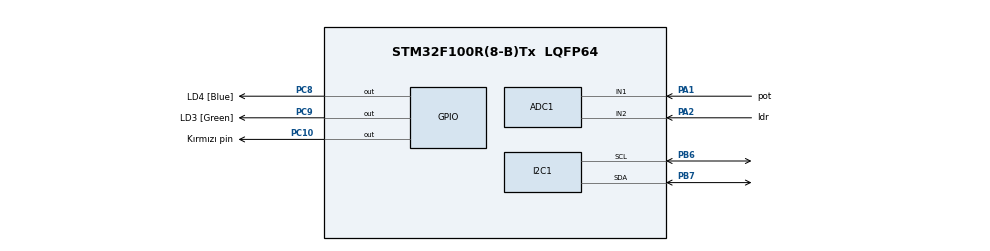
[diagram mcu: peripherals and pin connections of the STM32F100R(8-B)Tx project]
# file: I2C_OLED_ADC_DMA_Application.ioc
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ADC1.Channel-0\#ChannelRegularConversion=ADC_CHANNEL_1
ADC1.Channel-1\#ChannelRegularConversion=ADC_CHANNEL_2
ADC1.Channel-2\#ChannelRegularConversion=ADC_CHANNEL_TEMPSENSOR
ADC1.ContinuousConvMode=DISABLE
ADC1.NbrOfConversion=3
ADC1.NbrOfConversionFlag=1
ADC1.Rank-0\#ChannelRegularConversion=1
ADC1.Rank-1\#ChannelRegularConversion=2
ADC1.Rank-2\#ChannelRegularConversion=3
ADC1.SamplingTime-0\#ChannelRegularConversion=ADC_SAMPLETIME_55CYCLES_5
ADC1.SamplingTime-1\#ChannelRegularConversion=ADC_SAMPLETIME_55CYCLES_5
ADC1.SamplingTime-2\#ChannelRegularConversion=ADC_SAMPLETIME_55CYCLES_5
ADC1.master=1
Dma.ADC1.0.Direction=DMA_PERIPH_TO_MEMORY
Dma.ADC1.0.Instance=DMA1_Channel1
Dma.ADC1.0.MemDataAlignment=DMA_MDATAALIGN_HALFWORD
Dma.ADC1.0.MemInc=DMA_MINC_ENABLE
Dma.ADC1.0.Mode=DMA_CIRCULAR
Dma.ADC1.0.PeriphDataAlignment=DMA_PDATAALIGN_HALFWORD
Dma.ADC1.0.PeriphInc=DMA_PINC_DISABLE
Dma.ADC1.0.Priority=DMA_PRIORITY_MEDIUM
Dma.Request0=ADC1
I2C1.I2C_Mode=I2C_Fast
Mcu.Family=STM32F1
Mcu.Name=STM32F100R(8-B)Tx
Mcu.Package=LQFP64
NVIC.DMA1_Channel1_IRQn=true\:0\:0\:false\:false\:true\:false\:true\:true
NVIC.PriorityGroup=NVIC_PRIORITYGROUP_4
PA0-WKUP.Mode=SYS_WakeUp0
PA0-WKUP.Signal=SYS_WKUP
PA1.GPIO_Label=pot
PA1.Signal=ADCx_IN1
PA13.GPIO_Label=TMS_SWDIO
PA13.Mode=Serial_Wire
PA13.Signal=SYS_JTMS-SWDIO
PA14.GPIO_Label=TCK_SWCLK
PA14.Mode=Serial_Wire
PA14.Signal=SYS_JTCK-SWCLK
PA2.GPIO_Label=ldr
PA2.Signal=ADCx_IN2
PB6.Mode=I2C
PB6.Signal=I2C1_SCL
PB7.Mode=I2C
PB7.Signal=I2C1_SDA
PC10.GPIO_Label=K\u0131rm\u0131z\u0131 pin
PC10.GPIO_Speed=GPIO_SPEED_FREQ_LOW
PC10.Signal=GPIO_Output
PC14-OSC32_IN.Mode=LSE-External-Oscillator
PC14-OSC32_IN.Signal=RCC_OSC32_IN
PC15-OSC32_OUT.Mode=LSE-External-Oscillator
PC15-OSC32_OUT.Signal=RCC_OSC32_OUT
PC8.GPIO_Label=LD4 [Blue]
PC8.Signal=GPIO_Output
PC9.GPIO_Label=LD3 [Green]
PC9.Signal=GPIO_Output
PD0-OSC_IN.Mode=HSE-External-Oscillator
PD0-OSC_IN.Signal=RCC_OSC_IN
PD1-OSC_OUT.Mode=HSE-External-Oscillator
PD1-OSC_OUT.Signal=RCC_OSC_OUT
ProjectManager.HeapSize=0x200
ProjectManager.StackSize=0x400
ProjectManager.TargetToolchain=STM32CubeIDE
RCC.APB1Freq_Value=8000000
RCC.APB2Freq_Value=8000000
SH.ADCx_IN1.0=ADC1_IN1,IN1
SH.ADCx_IN2.0=ADC1_IN2,IN2
VP_ADC1_TempSens_Input.Mode=IN-TempSens
board=STM32VLDISCOVERY

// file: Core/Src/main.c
/* USER CODE BEGIN Header */
/**
  ******************************************************************************
  * @file           : main.c
  * @brief          : Main program body
  ******************************************************************************
  * @attention
  *
  * Copyright (c) 2022 STMicroelectronics.
  * All rights reserved.
  *
  * This software is licensed under terms that can be found in the LICENSE file
  * in the root directory of this software component.
  * If no LICENSE file comes with this software, it is provided AS-IS.
  *
  ******************************************************************************
  */
/* USER CODE END Header */
#include "main.h"

/* USER CODE BEGIN Includes */
#include "ssd1306.h"
#include "test.h"
#include "fonts.h"
#include <stdio.h>

/* USER CODE END Includes */

/* USER CODE BEGIN PD */
#define V25 1.53 //V25=Vsense at 25 degrees , 25 derecedeki voltaj degeri(typical value: 1.32 & 1.43 & 1.50).

/* USER CODE END PD */

ADC_HandleTypeDef hadc1;
DMA_HandleTypeDef hdma_adc1;

I2C_HandleTypeDef hi2c1;

/* USER CODE BEGIN PV */

float temp_voltage=0;
float temperature=0;

uint16_t volatile adcData[3];
uint16_t volatile adcDataBuffer[3];
uint16_t volatile adcConvComplt = 0; //Flag for Conversion completion
char message[50];
char adc_char[20];

char harf = 'C';

/* USER CODE END PV */

void SystemClock_Config(void);
static void MX_GPIO_Init(void);
static void MX_DMA_Init(void);
static void MX_ADC1_Init(void);
static void MX_I2C1_Init(void);
/* USER CODE BEGIN PFP */

void display_adcData(uint32_t adcValue);

/* USER CODE END PFP */

int main(void)
{

  /* MCU Configuration--------------------------------------------------------*/

  /* Reset of all peripherals, Initializes the Flash interface and the Systick. */
  HAL_Init();

  /* Configure the system clock */
  SystemClock_Config();

  /* Initialize all configured peripherals */
  MX_GPIO_Init();
  MX_DMA_Init();
  MX_ADC1_Init();
  MX_I2C1_Init();
  /* USER CODE BEGIN 2 */

  SSD1306_Init();

  SSD1306_GotoXY (0, 0);
  SSD1306_Puts ("Initializing...", &Font_7x10, 1);
  SSD1306_UpdateScreen ();  // update display
  HAL_Delay(500);

  HAL_ADCEx_Calibration_Start(&hadc1);

  HAL_GPIO_WritePin(GPIOC, GPIO_PIN_10, GPIO_PIN_SET);
  HAL_Delay(500);
  HAL_GPIO_WritePin(GPIOC, GPIO_PIN_10, GPIO_PIN_RESET);
  HAL_Delay(200);

  /* USER CODE END 2 */

  /* Infinite loop */
	while (1) {

    /* USER CODE BEGIN 3 */

		HAL_ADC_Start_DMA(&hadc1,(uint32_t *)adcDataBuffer, 3);
		while(adcConvComplt == 0)
		{

		}
		adcConvComplt = 0;

		uint16_t okupot=adcData[0];//adcData[0] indicates pot ADC Value
		uint16_t okuldr=adcData[1];//adcData[1] indicates ldr ADC Value
		uint16_t okutemp=adcData[2];//adcData[2] indicates temperature ADC Value

		temp_voltage = (float) okutemp * (3.3 / 4095);
		temperature = (V25 - temp_voltage) / 0.0043 + 25;   // V25 =1.50
		//Calculate the current temperature value -->  temp_voltage = Vsense
		//Temperature={(V25-Vsense)/Avg_Slope}+25 ; Avg_Slope=4.0 & 4.3 & 4.6 mV

		//HAL_Delay(100);
		//sprintf(message,"POT = %u || LDR = %u || Temperature = %0.1f\n",okupot, okuldr, temperature);

		if (okupot < 2300 ) {

			HAL_GPIO_WritePin(GPIOC, LD4_Pin,GPIO_PIN_SET);
			HAL_GPIO_WritePin(GPIOC, LD3_Pin | GPIO_PIN_10, GPIO_PIN_RESET);

		} else if (okupot >= 2300  && okupot < 3700 ) {

			HAL_GPIO_WritePin(GPIOC, LD3_Pin,GPIO_PIN_SET);
			HAL_GPIO_WritePin(GPIOC, LD4_Pin | GPIO_PIN_10, GPIO_PIN_RESET);

		} else if (okupot >= 3700 ) {
			HAL_GPIO_WritePin(GPIOC, GPIO_PIN_10,GPIO_PIN_SET);
			HAL_GPIO_WritePin(GPIOC, LD3_Pin | LD4_Pin, GPIO_PIN_RESET);

		} else{
			HAL_GPIO_TogglePin(GPIOC, GPIO_PIN_10 | LD3_Pin |LD4_Pin);
			HAL_Delay(30);
		}
		///////////////////////////////////////////////////
/*
		SSD1306_Clear();

		SSD1306_GotoXY(0, 2);
		SSD1306_Puts("POT:", &Font_11x18, 1);

		SSD1306_GotoXY(30, 2);
		SSD1306_Puts("LDR:", &Font_11x18, 1);

		SSD1306_GotoXY(0, 45);
		SSD1306_Puts("TEMP:", &Font_11x18, 1);

		SSD1306_UpdateScreen();

		HAL_Delay(1000);
*/
		SSD1306_Clear();

		SSD1306_GotoXY(10, 5);
		SSD1306_Puts("POT: ", &Font_7x10, 1);
		SSD1306_GotoXY(48, 1);
		display_adcData(okupot);

		SSD1306_GotoXY(10, 30);
		SSD1306_Puts("LDR: ", &Font_7x10, 1);
		SSD1306_GotoXY(48, 24);
		display_adcData(okuldr);

		SSD1306_GotoXY(10, 52);
		SSD1306_Puts("TEMP: ", &Font_7x10, 1);
		SSD1306_GotoXY(48, 45);
		sprintf(adc_char,"%0.2f", temperature);
		SSD1306_Puts(adc_char, &Font_11x18, 1);

		//SSD1306_ScrollRight(5, 50); //Nasıl işlediğini tam anlamadım

		SSD1306_UpdateScreen();

		HAL_Delay(500);

		/////////////////////////////////////////////////
	}
  /* USER CODE END 3 */
}

void SystemClock_Config(void)
{
  RCC_OscInitTypeDef RCC_OscInitStruct = {0};
  RCC_ClkInitTypeDef RCC_ClkInitStruct = {0};
  RCC_PeriphCLKInitTypeDef PeriphClkInit = {0};

  /** Initializes the RCC Oscillators according to the specified parameters
  * in the RCC_OscInitTypeDef structure.
  */
  RCC_OscInitStruct.OscillatorType = RCC_OSCILLATORTYPE_HSI;
  RCC_OscInitStruct.HSIState = RCC_HSI_ON;
  RCC_OscInitStruct.HSICalibrationValue = RCC_HSICALIBRATION_DEFAULT;
  RCC_OscInitStruct.PLL.PLLState = RCC_PLL_NONE;
  if (HAL_RCC_OscConfig(&RCC_OscInitStruct) != HAL_OK)
  {
    Error_Handler();
  }

  /** Initializes the CPU, AHB and APB buses clocks
  */
  RCC_ClkInitStruct.ClockType = RCC_CLOCKTYPE_HCLK|RCC_CLOCKTYPE_SYSCLK
                              |RCC_CLOCKTYPE_PCLK1|RCC_CLOCKTYPE_PCLK2;
  RCC_ClkInitStruct.SYSCLKSource = RCC_SYSCLKSOURCE_HSI;
  RCC_ClkInitStruct.AHBCLKDivider = RCC_SYSCLK_DIV1;
  RCC_ClkInitStruct.APB1CLKDivider = RCC_HCLK_DIV1;
  RCC_ClkInitStruct.APB2CLKDivider = RCC_HCLK_DIV1;

  if (HAL_RCC_ClockConfig(&RCC_ClkInitStruct, FLASH_LATENCY_0) != HAL_OK)
  {
    Error_Handler();
  }
  PeriphClkInit.PeriphClockSelection = RCC_PERIPHCLK_ADC;
  PeriphClkInit.AdcClockSelection = RCC_ADCPCLK2_DIV2;
  if (HAL_RCCEx_PeriphCLKConfig(&PeriphClkInit) != HAL_OK)
  {
    Error_Handler();
  }
}

static void MX_ADC1_Init(void)
{

  ADC_ChannelConfTypeDef sConfig = {0};

  /** Common config
  */
  hadc1.Instance = ADC1;
  hadc1.Init.ScanConvMode = ADC_SCAN_ENABLE;
  hadc1.Init.ContinuousConvMode = DISABLE;
  hadc1.Init.DiscontinuousConvMode = DISABLE;
  hadc1.Init.ExternalTrigConv = ADC_SOFTWARE_START;
  hadc1.Init.DataAlign = ADC_DATAALIGN_RIGHT;
  hadc1.Init.NbrOfConversion = 3;
  if (HAL_ADC_Init(&hadc1) != HAL_OK)
  {
    Error_Handler();
  }

  /** Configure Regular Channel
  */
  sConfig.Channel = ADC_CHANNEL_1;
  sConfig.Rank = ADC_REGULAR_RANK_1;
  sConfig.SamplingTime = ADC_SAMPLETIME_55CYCLES_5;
  if (HAL_ADC_ConfigChannel(&hadc1, &sConfig) != HAL_OK)
  {
    Error_Handler();
  }

  /** Configure Regular Channel
  */
  sConfig.Channel = ADC_CHANNEL_2;
  sConfig.Rank = ADC_REGULAR_RANK_2;
  if (HAL_ADC_ConfigChannel(&hadc1, &sConfig) != HAL_OK)
  {
    Error_Handler();
  }

  /** Configure Regular Channel
  */
  sConfig.Channel = ADC_CHANNEL_TEMPSENSOR;
  sConfig.Rank = ADC_REGULAR_RANK_3;
  if (HAL_ADC_ConfigChannel(&hadc1, &sConfig) != HAL_OK)
  {
    Error_Handler();
  }

}

static void MX_I2C1_Init(void)
{

  hi2c1.Instance = I2C1;
  hi2c1.Init.ClockSpeed = 400000;
  hi2c1.Init.DutyCycle = I2C_DUTYCYCLE_2;
  hi2c1.Init.OwnAddress1 = 0;
  hi2c1.Init.AddressingMode = I2C_ADDRESSINGMODE_7BIT;
  hi2c1.Init.DualAddressMode = I2C_DUALADDRESS_DISABLE;
  hi2c1.Init.OwnAddress2 = 0;
  hi2c1.Init.GeneralCallMode = I2C_GENERALCALL_DISABLE;
  hi2c1.Init.NoStretchMode = I2C_NOSTRETCH_DISABLE;
  if (HAL_I2C_Init(&hi2c1) != HAL_OK)
  {
    Error_Handler();
  }

}

static void MX_DMA_Init(void)
{

  /* DMA controller clock enable */
  __HAL_RCC_DMA1_CLK_ENABLE();

  /* DMA interrupt init */
  /* DMA1_Channel1_IRQn interrupt configuration */
  HAL_NVIC_SetPriority(DMA1_Channel1_IRQn, 0, 0);
  HAL_NVIC_EnableIRQ(DMA1_Channel1_IRQn);

}

static void MX_GPIO_Init(void)
{
  GPIO_InitTypeDef GPIO_InitStruct = {0};

  /* GPIO Ports Clock Enable */
  __HAL_RCC_GPIOC_CLK_ENABLE();
  __HAL_RCC_GPIOD_CLK_ENABLE();
  __HAL_RCC_GPIOA_CLK_ENABLE();
  __HAL_RCC_GPIOB_CLK_ENABLE();

  /*Configure GPIO pin Output Level */
  HAL_GPIO_WritePin(GPIOC, LD4_Pin|LD3_Pin|K_rm_z__pin_Pin, GPIO_PIN_RESET);

  /*Configure GPIO pins : LD4_Pin LD3_Pin K_rm_z__pin_Pin */
  GPIO_InitStruct.Pin = LD4_Pin|LD3_Pin|K_rm_z__pin_Pin;
  GPIO_InitStruct.Mode = GPIO_MODE_OUTPUT_PP;
  GPIO_InitStruct.Pull = GPIO_NOPULL;
  GPIO_InitStruct.Speed = GPIO_SPEED_FREQ_LOW;
  HAL_GPIO_Init(GPIOC, &GPIO_InitStruct);

}

/* USER CODE BEGIN 4 */

void display_adcData(uint32_t adcValue)
{
	sprintf(adc_char,"%lu", adcValue);
	SSD1306_Puts(adc_char, &Font_11x18, 1);
	//SSD1306_UpdateScreen();
}

void HAL_ADC_ConvCpltCallback(ADC_HandleTypeDef* hadc)
{
	if(hadc->Instance==ADC1){
		for(uint8_t i=0; i<3; i++){
			adcData[i]=adcDataBuffer[i];
			//hadc->Instance->DR
			//hadc->Instance==ADC1

		}

	}
	adcConvComplt = 1;
}

/* USER CODE END 4 */

void Error_Handler(void)
{
  __disable_irq();
  while (1)
  {
  }
}
